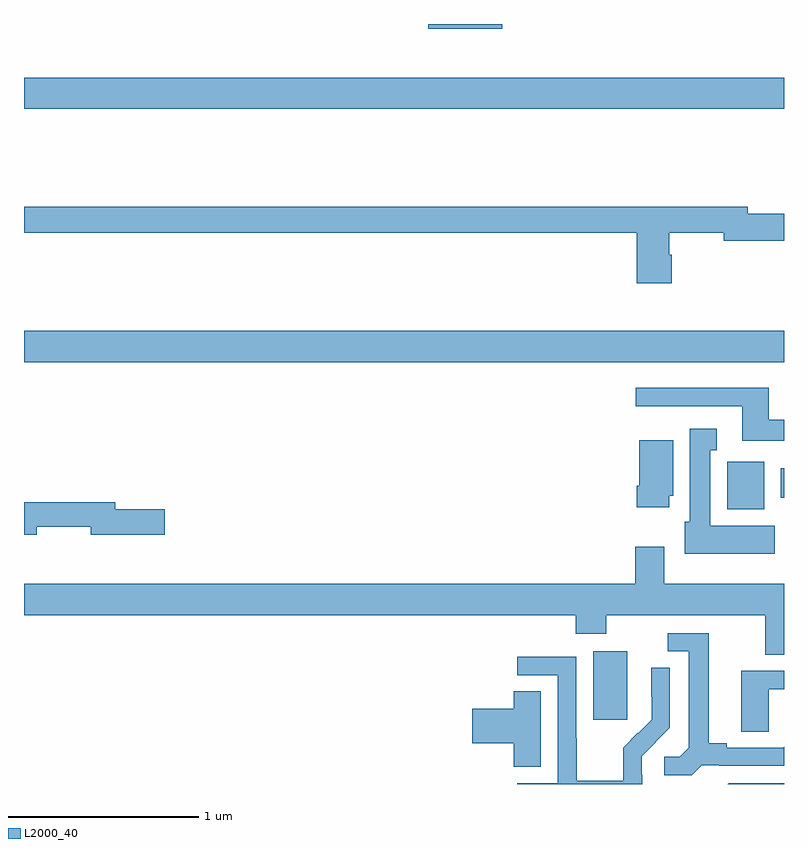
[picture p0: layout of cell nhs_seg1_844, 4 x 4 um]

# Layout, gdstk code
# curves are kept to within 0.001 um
import gdstk
lib = gdstk.Library(unit=1e-6, precision=1e-09)
def R(c, l, rs):  # rectangles x0, y0, x1, y1
    for r in rs: c.add(gdstk.rectangle(r[:2], r[2:], *l))
def P(c, l, *ps):  # polygons
    for p in ps: c.add(gdstk.Polygon(p, *l))
L2000_40 = (2000, 40)

nhs_seg1_844 = lib.new_cell('nhs_seg1_844')
R(nhs_seg1_844, L2000_40, [(159.995,528.537,160.174,528.898), (160.701,529.646,160.897,529.896), (160.982,529.705,161,529.861), (157,530.42,161,530.584), (157,531.752,161,531.916), (159.128,532.175,159.517,532.199)])
P(nhs_seg1_844, L2000_40, [(160.409,530.985),(160.396,530.985),(160.396,531.1),(160.682,531.1),(160.682,531.058),(161,531.058),(161,531.2),(160.81,531.2),(160.81,531.236),(157,531.236),(157,531.1),(160.226,531.1),(160.226,530.835),(160.409,530.835)],
  [(161,530.116),(160.921,530.116),(160.921,530.284),(160.221,530.284),(160.221,530.187),(160.781,530.187),(160.781,530.006),(161,530.006)],
  [(160.951,529.558),(160.612,529.558),(160.612,529.955),(160.645,529.955),(160.645,530.068),(160.505,530.068),(160.505,529.578),(160.478,529.578),(160.478,529.412),(160.951,529.412)],
  [(160.396,529.716),(160.417,529.716),(160.417,530.008),(160.238,530.008),(160.238,529.768),(160.226,529.768),(160.226,529.656),(160.396,529.656)],
  [(157.066,529.554),(157.352,529.554),(157.352,529.511),(157.741,529.511),(157.741,529.646),(157.48,529.646),(157.48,529.682),(157,529.682),(157,529.511),(157.066,529.511)],
  [(161,529.252),(160.369,529.252),(160.369,529.447),(160.217,529.447),(160.217,529.252),(157,529.252),(157,529.088),(159.905,529.088),(159.905,528.989),(160.065,528.989),(160.065,529.088),(160.901,529.088),(160.901,528.88),(161,528.88)],
  [(160.566,528.297),(160.66,528.297),(160.66,528.294),(161,528.294),(161,528.396),(160.994,528.39),(160.699,528.39),(160.699,528.413),(160.603,528.413),(160.603,528.993),(160.389,528.993),(160.389,528.897),(160.499,528.897),(160.499,528.389),(160.452,528.342),(160.371,528.342),(160.371,528.245),(160.514,528.245)],
  [(160.254,528.249),(160.252,528.249),(160.252,528.346),(160.398,528.494),(160.398,528.812),(160.302,528.812),(160.302,528.658),(160.304,528.658),(160.304,528.536),(160.233,528.465),(160.23,528.468),(160.153,528.391),(160.153,528.217),(159.909,528.217),(159.909,528.44),(159.906,528.44),(159.906,528.87),(159.597,528.87),(159.597,528.771),(159.81,528.771),(159.81,528.204),(159.597,528.204),(159.597,528.199),(160.254,528.199)],
  [(160.92,528.699),(161,528.699),(161,528.795),(160.775,528.795),(160.775,528.475),(160.92,528.475)],
  [(159.721,528.686),(159.578,528.686),(159.578,528.596),(159.36,528.596),(159.36,528.413),(159.578,528.413),(159.578,528.289),(159.721,528.289)],
  [(161,528.204),(160.71,528.204),(160.705,528.199),(161,528.199)])

lib.write_gds('nhs_seg1_844.gds')
